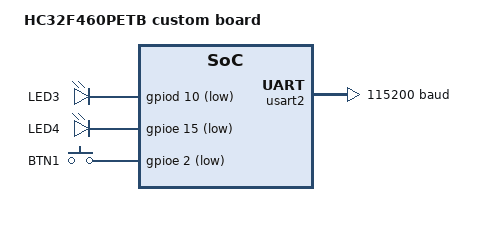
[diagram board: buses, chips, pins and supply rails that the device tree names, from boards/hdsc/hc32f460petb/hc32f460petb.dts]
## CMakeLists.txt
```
# SPDX-License-Identifier: Apache-2.0

cmake_minimum_required(VERSION 3.20.0)

# Point Zephyr to our out-of-tree SoC, board, and DTS definitions
list(APPEND SOC_ROOT ${CMAKE_CURRENT_SOURCE_DIR})
list(APPEND BOARD_ROOT ${CMAKE_CURRENT_SOURCE_DIR})
list(APPEND DTS_ROOT ${CMAKE_CURRENT_SOURCE_DIR})

find_package(Zephyr REQUIRED HINTS $ENV{ZEPHYR_BASE})
project(hc32f460petb_demo)

target_sources(app PRIVATE src/main.c)
```

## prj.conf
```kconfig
# SPDX-License-Identifier: Apache-2.0

CONFIG_GPIO=y
CONFIG_SERIAL=y
CONFIG_CONSOLE=y
CONFIG_UART_CONSOLE=y
CONFIG_PRINTK=y
CONFIG_LOG=y

# HC32F460 specific
CONFIG_ARM_MPU=n
CONFIG_HW_STACK_PROTECTION=n
CONFIG_DYNAMIC_INTERRUPTS=y

CONFIG_MAIN_STACK_SIZE=2048
CONFIG_SYSTEM_CLOCK_NO_WAIT=y
```

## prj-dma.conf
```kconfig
# SPDX-License-Identifier: Apache-2.0
# DMA mode overlay — use with: west build -b hc32f460petb . -- -DOVERLAY_CONFIG=prj-dma.conf

CONFIG_GPIO=y
CONFIG_SERIAL=y
CONFIG_CONSOLE=y
CONFIG_UART_CONSOLE=y
CONFIG_PRINTK=y
CONFIG_LOG=y

# HC32F460 specific
CONFIG_ARM_MPU=n
CONFIG_HW_STACK_PROTECTION=n
CONFIG_DYNAMIC_INTERRUPTS=y

CONFIG_MAIN_STACK_SIZE=2048
CONFIG_SYSTEM_CLOCK_NO_WAIT=y

# UART DMA mode (mutually exclusive with interrupt mode)
CONFIG_UART_HC32_DMA=y

# Input subsystem for gpio-keys button
CONFIG_INPUT=y

# Zephyr Shell (async backend for DMA)
CONFIG_SHELL=y
CONFIG_SHELL_BACKEND_SERIAL=y
CONFIG_SHELL_ASYNC_API=y
```

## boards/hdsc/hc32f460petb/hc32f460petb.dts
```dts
/*
 * SPDX-License-Identifier: Apache-2.0
 *
 * HC32F460PETB board devicetree
 *
 * Hardware:
 *   LED3: PD10 (active-low)
 *   LED4: PE15 (active-low)
 *   BTN0: PA3  (active-low, internal pull-up)
 *   BTN1: PE2  (active-low, internal pull-up)
 *   USART2: PA2(TX)/PA3(RX), 115200, DAPLink VCP
 */

/dts-v1/;
#include <arm/hdsc/hc32f460.dtsi>
#include <zephyr/dt-bindings/input/input-event-codes.h>

/ {
	model = "HC32F460PETB custom board";
	compatible = "hdsc,hc32f460petb";

	chosen {
		zephyr,console = &usart2;
		zephyr,shell-uart = &usart2;
		zephyr,sram = &sram0;
		zephyr,flash = &flash0;
	};

	leds: leds {
		compatible = "gpio-leds";

		led3: led_3 {
			gpios = <&gpiod 10 GPIO_ACTIVE_LOW>;
			label = "LED3";
		};

		led4: led_4 {
			gpios = <&gpioe 15 GPIO_ACTIVE_LOW>;
			label = "LED4";
		};
	};

	gpio_keys {
		compatible = "gpio-keys";

		btn1: button_1 {
			gpios = <&gpioe 2 (GPIO_ACTIVE_LOW | GPIO_PULL_UP)>;
			label = "BTN1";
			zephyr,code = <INPUT_KEY_0>;
		};
	};

	aliases {
		led0 = &led3;
		led1 = &led4;
		sw0 = &btn1;
	};
};

&gpioa {
	status = "okay";
};

&gpiod {
	status = "okay";
};

&gpioe {
	status = "okay";
};

&usart2 {
	current-speed = <115200>;
	status = "okay";
};
```

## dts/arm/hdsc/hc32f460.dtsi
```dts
/*
 * SPDX-License-Identifier: Apache-2.0
 *
 * HC32F460 SoC devicetree include
 *
 * Memory map:
 *   Flash: 0x00000000, 512K
 *   SRAM:  0x1FFF8000, 192K (188K general + 4K ret_ram)
 */

#include <arm/armv7-m.dtsi>
#include <zephyr/dt-bindings/gpio/gpio.h>
#include <mem.h>

/ {
	compatible = "hdsc,hc32f460";

	chosen {
		zephyr,flash-controller = &flash_controller;
	};

	cpus {
		#address-cells = <1>;
		#size-cells = <0>;
		cpu0: cpu@0 {
			device_type = "cpu";
			compatible = "arm,cortex-m4f";
			reg = <0>;
			clock-frequency = <8000000>; /* MRC 8 MHz default */
		};
	};

	sram0: memory@1fff8000 {
		compatible = "mmio-sram";
		reg = <0x1FFF8000 DT_SIZE_K(192)>;
	};

	soc {
		flash_controller: flash-controller@40010400 {
			compatible = "hdsc,hc32-flash-controller";
			reg = <0x40010400 0x400>;
			#address-cells = <1>;
			#size-cells = <1>;

			flash0: flash@0 {
				compatible = "soc-nv-flash";
				reg = <0x00000000 DT_SIZE_K(512)>;
			};
		};

		gpioa: gpio@40053801 {
			compatible = "hdsc,hc32-gpio";
			reg = <0x40053800 0x800>;
			gpio-controller;
			#gpio-cells = <2>;
			port-index = <0>;  /* Port A */
			status = "disabled";
		};

		gpiob: gpio@40053802 {
			compatible = "hdsc,hc32-gpio";
			reg = <0x40053800 0x800>;
			gpio-controller;
			#gpio-cells = <2>;
			port-index = <1>;  /* Port B */
			status = "disabled";
		};

		gpioc: gpio@40053803 {
			compatible = "hdsc,hc32-gpio";
			reg = <0x40053800 0x800>;
			gpio-controller;
			#gpio-cells = <2>;
			port-index = <2>;  /* Port C */
			status = "disabled";
		};

		gpiod: gpio@40053804 {
			compatible = "hdsc,hc32-gpio";
			reg = <0x40053800 0x800>;
			gpio-controller;
			#gpio-cells = <2>;
			port-index = <3>;  /* Port D */
			status = "disabled";
		};

		gpioe: gpio@40053805 {
			compatible = "hdsc,hc32-gpio";
			reg = <0x40053800 0x800>;
			gpio-controller;
			#gpio-cells = <2>;
			port-index = <4>;  /* Port E */
			status = "disabled";
		};

		usart2: serial@4001d400 {
			compatible = "hdsc,hc32-usart";
			reg = <0x4001D400 0x400>;
			status = "disabled";
		};
	};
};

&nvic {
	arm,num-irq-priority-bits = <4>;
};
```

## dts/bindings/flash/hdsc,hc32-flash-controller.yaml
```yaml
# SPDX-License-Identifier: Apache-2.0

description: HC32F460 flash controller

compatible: "hdsc,hc32-flash-controller"

include: base.yaml

properties:
  reg:
    required: true

  "#address-cells":
    required: true

  "#size-cells":
    required: true
```

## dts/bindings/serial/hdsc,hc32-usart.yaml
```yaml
# SPDX-License-Identifier: Apache-2.0

description: HC32F460 USART peripheral

compatible: "hdsc,hc32-usart"

include: uart-controller.yaml

properties:
  reg:
    required: true
```

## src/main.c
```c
/*
 * SPDX-License-Identifier: Apache-2.0
 *
 * HC32F460PETB Zephyr demo: LED blink + button interrupt + UART console
 */

#include <zephyr/kernel.h>
#include <zephyr/drivers/gpio.h>
#include <zephyr/sys/printk.h>

#define SLEEP_MS 500

/* LED0 = LED3 (PD10) */
static const struct gpio_dt_spec led0 = GPIO_DT_SPEC_GET(DT_ALIAS(led0), gpios);
/* LED1 = LED4 (PE15) */
static const struct gpio_dt_spec led1 = GPIO_DT_SPEC_GET(DT_ALIAS(led1), gpios);
/* BTN1 (PE2) */
static const struct gpio_dt_spec btn0 = GPIO_DT_SPEC_GET(DT_ALIAS(sw0), gpios);

static struct gpio_callback btn_cb_data;
static volatile uint32_t btn_press_count;

static void button_isr(const struct device *dev, struct gpio_callback *cb,
		       uint32_t pins)
{
	btn_press_count++;
}

int main(void)
{
	int ret;
	bool led_state = true;
	uint32_t last_count = 0;

	printk("HC32F460 Zephyr demo starting\n");

	/* Configure LEDs */
	if (!gpio_is_ready_dt(&led0) || !gpio_is_ready_dt(&led1)) {
		printk("Error: LED GPIO devices not ready\n");
		return -1;
	}

	ret = gpio_pin_configure_dt(&led0, GPIO_OUTPUT_ACTIVE);
	if (ret < 0) {
		printk("Error: failed to configure LED0: %d\n", ret);
		return ret;
	}

	ret = gpio_pin_configure_dt(&led1, GPIO_OUTPUT_INACTIVE);
	if (ret < 0) {
		printk("Error: failed to configure LED1: %d\n", ret);
		return ret;
	}

	/* Configure button as input with interrupt */
	if (!gpio_is_ready_dt(&btn0)) {
		printk("Error: button GPIO device not ready\n");
		return -1;
	}

	ret = gpio_pin_configure_dt(&btn0, GPIO_INPUT);
	if (ret < 0) {
		printk("Error: failed to configure button: %d\n", ret);
		return ret;
	}

	/* Set up button interrupt callback */
	gpio_init_callback(&btn_cb_data, button_isr, BIT(btn0.pin));
	ret = gpio_add_callback(btn0.port, &btn_cb_data);
	if (ret < 0) {
		printk("Error: failed to add button callback: %d\n", ret);
		return ret;
	}

	ret = gpio_pin_interrupt_configure_dt(&btn0, GPIO_INT_EDGE_FALLING);
	if (ret < 0) {
		printk("Warning: button interrupt not available (%d), using polling\n", ret);
	} else {
		printk("Button interrupt configured (falling edge)\n");
	}

	printk("LED0 (PD10), LED1 (PE15), BTN1 (PE2) configured\n");

	while (1) {
		/* Toggle LEDs alternately */
		gpio_pin_set_dt(&led0, led_state);
		gpio_pin_set_dt(&led1, !led_state);
		led_state = !led_state;

		/* Check for button interrupt events */
		uint32_t count = btn_press_count;
		if (count != last_count) {
			printk("[BTN1] pressed (count=%u)\n", count);
			last_count = count;
		}

		/* Periodic heartbeat */
		printk("alive (led=%d)\n", led_state);

		k_msleep(SLEEP_MS);
	}

	return 0;
}
```

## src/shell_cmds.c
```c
/*
 * SPDX-License-Identifier: Apache-2.0
 *
 * Shell demo commands for HC32F460PETB.
 *
 * Commands:
 *   led on <n>      — turn on LED n (0 or 1)
 *   led off <n>     — turn off LED n
 *   led toggle <n>  — toggle LED n
 *   led status      — show LED states
 *   gpio read <port> <pin> — read GPIO pin value
 *   sysinfo         — show system information
 */

#include <zephyr/shell/shell.h>
#include <zephyr/drivers/gpio.h>
#include <zephyr/kernel.h>
#include <zephyr/version.h>
#include <stdlib.h>
#include <soc.h>

/* GPIO base for direct register reads */
#define GPIO_BASE  0x40053800UL
#define GPIO_PIDR(port) (GPIO_BASE + 0x0000U + (uint32_t)(port) * 0x10U)

static const struct gpio_dt_spec leds[] = {
	GPIO_DT_SPEC_GET(DT_ALIAS(led0), gpios),
	GPIO_DT_SPEC_GET(DT_ALIAS(led1), gpios),
};

static int parse_led_index(const struct shell *sh, const char *arg)
{
	int n = atoi(arg);

	if (n < 0 || n >= (int)ARRAY_SIZE(leds)) {
		shell_error(sh, "Invalid LED index %d (valid: 0-%d)",
			    n, (int)ARRAY_SIZE(leds) - 1);
		return -EINVAL;
	}
	return n;
}

static int cmd_led_on(const struct shell *sh, size_t argc, char **argv)
{
	int n = parse_led_index(sh, argv[1]);

	if (n < 0) {
		return n;
	}
	gpio_pin_set_dt(&leds[n], 1);
	shell_print(sh, "LED%d ON", n);
	return 0;
}

static int cmd_led_off(const struct shell *sh, size_t argc, char **argv)
{
	int n = parse_led_index(sh, argv[1]);

	if (n < 0) {
		return n;
	}
	gpio_pin_set_dt(&leds[n], 0);
	shell_print(sh, "LED%d OFF", n);
	return 0;
}

static int cmd_led_toggle(const struct shell *sh, size_t argc, char **argv)
{
	int n = parse_led_index(sh, argv[1]);

	if (n < 0) {
		return n;
	}
	gpio_pin_toggle_dt(&leds[n]);
	shell_print(sh, "LED%d toggled", n);
	return 0;
}

static int cmd_led_status(const struct shell *sh, size_t argc, char **argv)
{
	for (int i = 0; i < (int)ARRAY_SIZE(leds); i++) {
		int val = gpio_pin_get_dt(&leds[i]);

		shell_print(sh, "LED%d: %s", i, val ? "ON" : "OFF");
	}
	return 0;
}

SHELL_STATIC_SUBCMD_SET_CREATE(sub_led,
	SHELL_CMD_ARG(on, NULL, "Turn on LED <n>", cmd_led_on, 2, 0),
	SHELL_CMD_ARG(off, NULL, "Turn off LED <n>", cmd_led_off, 2, 0),
	SHELL_CMD_ARG(toggle, NULL, "Toggle LED <n>", cmd_led_toggle, 2, 0),
	SHELL_CMD(status, NULL, "Show LED states", cmd_led_status),
	SHELL_SUBCMD_SET_END
);
SHELL_CMD_REGISTER(led, &sub_led, "LED control commands", NULL);

/* --- gpio read command --- */

static int cmd_gpio_read(const struct shell *sh, size_t argc, char **argv)
{
	int port = atoi(argv[1]);
	int pin  = atoi(argv[2]);

	if (port < 0 || port > 4 || pin < 0 || pin > 15) {
		shell_error(sh, "Invalid port %d (0=A..4=E) or pin %d (0-15)",
			    port, pin);
		return -EINVAL;
	}

	uint16_t pidr = sys_read16(GPIO_PIDR(port));
	int val = (pidr >> pin) & 1;

	shell_print(sh, "GPIO P%c%d = %d", 'A' + port, pin, val);
	return 0;
}

SHELL_CMD_ARG_REGISTER(gpio_read, NULL,
	"Read GPIO pin: gpio_read <port:0-4> <pin:0-15>",
	cmd_gpio_read, 3, 0);

/* --- sysinfo command --- */

static int cmd_sysinfo(const struct shell *sh, size_t argc, char **argv)
{
	shell_print(sh, "=== HC32F460PETB System Info ===");
	shell_print(sh, "MCU: HC32F460 (Cortex-M4F)");
	shell_print(sh, "SystemCoreClock: %u Hz", SystemCoreClock);
	shell_print(sh, "Zephyr: %s", KERNEL_VERSION_STRING);
	shell_print(sh, "Uptime: %lld ms", k_uptime_get());
	shell_print(sh, "UART: USART1 PA9(TX)/PA10(RX) @ 115200");
	shell_print(sh, "LEDs: PD10 (LED3), PE15 (LED4)");
	shell_print(sh, "Button: PE2 (BTN1, input subsystem)");

	/* Read some key registers */
	uint16_t pwpr = sys_read16(0x40053BFCUL);

	shell_print(sh, "GPIO PWPR: 0x%04x (%s)", pwpr,
		    (pwpr & 1) ? "unlocked" : "locked");

	return 0;
}

SHELL_CMD_REGISTER(sysinfo, NULL, "Show system information", cmd_sysinfo);
```
